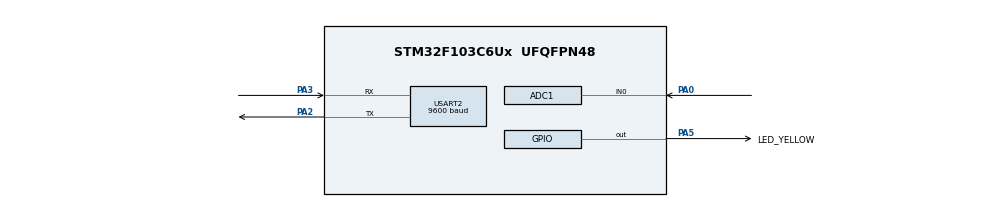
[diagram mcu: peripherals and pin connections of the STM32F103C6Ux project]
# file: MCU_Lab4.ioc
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ADC1.Channel-0\#ChannelRegularConversion=ADC_CHANNEL_0
ADC1.ContinuousConvMode=ENABLE
ADC1.NbrOfConversionFlag=1
ADC1.Rank-0\#ChannelRegularConversion=1
ADC1.SamplingTime-0\#ChannelRegularConversion=ADC_SAMPLETIME_1CYCLE_5
ADC1.master=1
Mcu.Family=STM32F1
Mcu.Name=STM32F103C6Ux
Mcu.Package=UFQFPN48
NVIC.PriorityGroup=NVIC_PRIORITYGROUP_4
NVIC.TIM2_IRQn=true\:0\:0\:false\:false\:true\:true\:true
NVIC.USART2_IRQn=true\:0\:0\:false\:false\:true\:true\:true
PA0-WKUP.Signal=ADCx_IN0
PA2.Mode=Asynchronous
PA2.Signal=USART2_TX
PA3.Mode=Asynchronous
PA3.Signal=USART2_RX
PA5.GPIO_Label=LED_YELLOW
PA5.Signal=GPIO_Output
ProjectManager.HeapSize=0x200
ProjectManager.StackSize=0x400
ProjectManager.TargetToolchain=STM32CubeIDE
RCC.APB1Freq_Value=8000000
RCC.APB2Freq_Value=8000000
SH.ADCx_IN0.0=ADC1_IN0,IN0
TIM2.Period=9
TIM2.Prescaler=7999
USART2.BaudRate=9600
USART2.VirtualMode=VM_ASYNC
VP_SYS_VS_ND.Mode=No_Debug
VP_TIM2_VS_ClockSourceINT.Mode=Internal
board=custom

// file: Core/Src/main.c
/* USER CODE BEGIN Header */
/**
  ******************************************************************************
  * @file           : main.c
  * @brief          : Main program body
  ******************************************************************************
  * @attention
  *
  * <h2><center>&copy; Copyright (c) 2023 STMicroelectronics.
  * All rights reserved.</center></h2>
  *
  * This software component is licensed by ST under BSD 3-Clause license,
  * the "License"; You may not use this file except in compliance with the
  * License. You may obtain a copy of the License at:
  *                        opensource.org/licenses/BSD-3-Clause
  *
  ******************************************************************************
  */
/* USER CODE END Header */
#include "main.h"

/* USER CODE BEGIN Includes */
#include "fsm.h"
#include "software_timer.h"
#include <stdio.h>
/* USER CODE END Includes */

ADC_HandleTypeDef hadc1;

TIM_HandleTypeDef htim2;

UART_HandleTypeDef huart2;

void SystemClock_Config(void);
static void MX_GPIO_Init(void);
static void MX_ADC1_Init(void);
static void MX_USART2_UART_Init(void);
static void MX_TIM2_Init(void);

/* USER CODE BEGIN 0 */
void HAL_UART_RxCpltCallback(UART_HandleTypeDef *huart){
	if(huart->Instance == USART2){
		HAL_UART_Transmit(&huart2, &temp, 1, 50);
		buffer[index_buffer++] = temp;
		if(index_buffer == 30) index_buffer = 0;

		buffer_flag = 1;
		HAL_UART_Receive_IT(&huart2, &temp, 1);
	}
}
/* USER CODE END 0 */

int main(void)
{

  /* MCU Configuration--------------------------------------------------------*/

  /* Reset of all peripherals, Initializes the Flash interface and the Systick. */
  HAL_Init();

  /* Configure the system clock */
  SystemClock_Config();

  /* Initialize all configured peripherals */
  MX_GPIO_Init();
  MX_ADC1_Init();
  MX_USART2_UART_Init();
  MX_TIM2_Init();
  /* USER CODE BEGIN 2 */
  HAL_UART_Receive_IT (&huart2 , &temp , 1) ;
  HAL_TIM_Base_Start_IT(&htim2);

  /* USER CODE END 2 */

  /* Infinite loop */
  /* USER CODE BEGIN WHILE */
  setTimer1(21);
  setTimer2(31);
  setTimer3(51);
  while (1)
  {
    /* USER CODE END WHILE */

    /* USER CODE BEGIN 3 */
	if(timer1_flag==1){
		HAL_GPIO_TogglePin(LED_YELLOW_GPIO_Port, LED_YELLOW_Pin);
		setTimer1(500);
	}

	if(buffer_flag == 1){
		buffer_flag = 0;
		command_parser_fsm();
	}

	uart_communication_fsm();

  }
  /* USER CODE END 3 */
}

void SystemClock_Config(void)
{
  RCC_OscInitTypeDef RCC_OscInitStruct = {0};
  RCC_ClkInitTypeDef RCC_ClkInitStruct = {0};
  RCC_PeriphCLKInitTypeDef PeriphClkInit = {0};

  /** Initializes the RCC Oscillators according to the specified parameters
  * in the RCC_OscInitTypeDef structure.
  */
  RCC_OscInitStruct.OscillatorType = RCC_OSCILLATORTYPE_HSI;
  RCC_OscInitStruct.HSIState = RCC_HSI_ON;
  RCC_OscInitStruct.HSICalibrationValue = RCC_HSICALIBRATION_DEFAULT;
  RCC_OscInitStruct.PLL.PLLState = RCC_PLL_NONE;
  if (HAL_RCC_OscConfig(&RCC_OscInitStruct) != HAL_OK)
  {
    Error_Handler();
  }
  /** Initializes the CPU, AHB and APB buses clocks
  */
  RCC_ClkInitStruct.ClockType = RCC_CLOCKTYPE_HCLK|RCC_CLOCKTYPE_SYSCLK
                              |RCC_CLOCKTYPE_PCLK1|RCC_CLOCKTYPE_PCLK2;
  RCC_ClkInitStruct.SYSCLKSource = RCC_SYSCLKSOURCE_HSI;
  RCC_ClkInitStruct.AHBCLKDivider = RCC_SYSCLK_DIV1;
  RCC_ClkInitStruct.APB1CLKDivider = RCC_HCLK_DIV1;
  RCC_ClkInitStruct.APB2CLKDivider = RCC_HCLK_DIV1;

  if (HAL_RCC_ClockConfig(&RCC_ClkInitStruct, FLASH_LATENCY_0) != HAL_OK)
  {
    Error_Handler();
  }
  PeriphClkInit.PeriphClockSelection = RCC_PERIPHCLK_ADC;
  PeriphClkInit.AdcClockSelection = RCC_ADCPCLK2_DIV2;
  if (HAL_RCCEx_PeriphCLKConfig(&PeriphClkInit) != HAL_OK)
  {
    Error_Handler();
  }
}

static void MX_ADC1_Init(void)
{

  ADC_ChannelConfTypeDef sConfig = {0};

  /** Common config
  */
  hadc1.Instance = ADC1;
  hadc1.Init.ScanConvMode = ADC_SCAN_DISABLE;
  hadc1.Init.ContinuousConvMode = ENABLE;
  hadc1.Init.DiscontinuousConvMode = DISABLE;
  hadc1.Init.ExternalTrigConv = ADC_SOFTWARE_START;
  hadc1.Init.DataAlign = ADC_DATAALIGN_RIGHT;
  hadc1.Init.NbrOfConversion = 1;
  if (HAL_ADC_Init(&hadc1) != HAL_OK)
  {
    Error_Handler();
  }
  /** Configure Regular Channel
  */
  sConfig.Channel = ADC_CHANNEL_0;
  sConfig.Rank = ADC_REGULAR_RANK_1;
  sConfig.SamplingTime = ADC_SAMPLETIME_1CYCLE_5;
  if (HAL_ADC_ConfigChannel(&hadc1, &sConfig) != HAL_OK)
  {
    Error_Handler();
  }

}

static void MX_TIM2_Init(void)
{

  TIM_ClockConfigTypeDef sClockSourceConfig = {0};
  TIM_MasterConfigTypeDef sMasterConfig = {0};

  htim2.Instance = TIM2;
  htim2.Init.Prescaler = 7999;
  htim2.Init.CounterMode = TIM_COUNTERMODE_UP;
  htim2.Init.Period = 9;
  htim2.Init.ClockDivision = TIM_CLOCKDIVISION_DIV1;
  htim2.Init.AutoReloadPreload = TIM_AUTORELOAD_PRELOAD_DISABLE;
  if (HAL_TIM_Base_Init(&htim2) != HAL_OK)
  {
    Error_Handler();
  }
  sClockSourceConfig.ClockSource = TIM_CLOCKSOURCE_INTERNAL;
  if (HAL_TIM_ConfigClockSource(&htim2, &sClockSourceConfig) != HAL_OK)
  {
    Error_Handler();
  }
  sMasterConfig.MasterOutputTrigger = TIM_TRGO_RESET;
  sMasterConfig.MasterSlaveMode = TIM_MASTERSLAVEMODE_DISABLE;
  if (HAL_TIMEx_MasterConfigSynchronization(&htim2, &sMasterConfig) != HAL_OK)
  {
    Error_Handler();
  }

}

static void MX_USART2_UART_Init(void)
{

  huart2.Instance = USART2;
  huart2.Init.BaudRate = 9600;
  huart2.Init.WordLength = UART_WORDLENGTH_8B;
  huart2.Init.StopBits = UART_STOPBITS_1;
  huart2.Init.Parity = UART_PARITY_NONE;
  huart2.Init.Mode = UART_MODE_TX_RX;
  huart2.Init.HwFlowCtl = UART_HWCONTROL_NONE;
  huart2.Init.OverSampling = UART_OVERSAMPLING_16;
  if (HAL_UART_Init(&huart2) != HAL_OK)
  {
    Error_Handler();
  }

}

static void MX_GPIO_Init(void)
{
  GPIO_InitTypeDef GPIO_InitStruct = {0};

  /* GPIO Ports Clock Enable */
  __HAL_RCC_GPIOA_CLK_ENABLE();

  /*Configure GPIO pin Output Level */
  HAL_GPIO_WritePin(LED_YELLOW_GPIO_Port, LED_YELLOW_Pin, GPIO_PIN_RESET);

  /*Configure GPIO pin : LED_YELLOW_Pin */
  GPIO_InitStruct.Pin = LED_YELLOW_Pin;
  GPIO_InitStruct.Mode = GPIO_MODE_OUTPUT_PP;
  GPIO_InitStruct.Pull = GPIO_NOPULL;
  GPIO_InitStruct.Speed = GPIO_SPEED_FREQ_LOW;
  HAL_GPIO_Init(LED_YELLOW_GPIO_Port, &GPIO_InitStruct);

}

/* USER CODE BEGIN 4 */
void HAL_TIM_PeriodElapsedCallback(TIM_HandleTypeDef *htim) {
	timerRun();
}
/* USER CODE END 4 */

void Error_Handler(void)
{
  __disable_irq();
  while (1)
  {
  }
}

/************************ (C) COPYRIGHT STMicroelectronics *****END OF FILE****/
